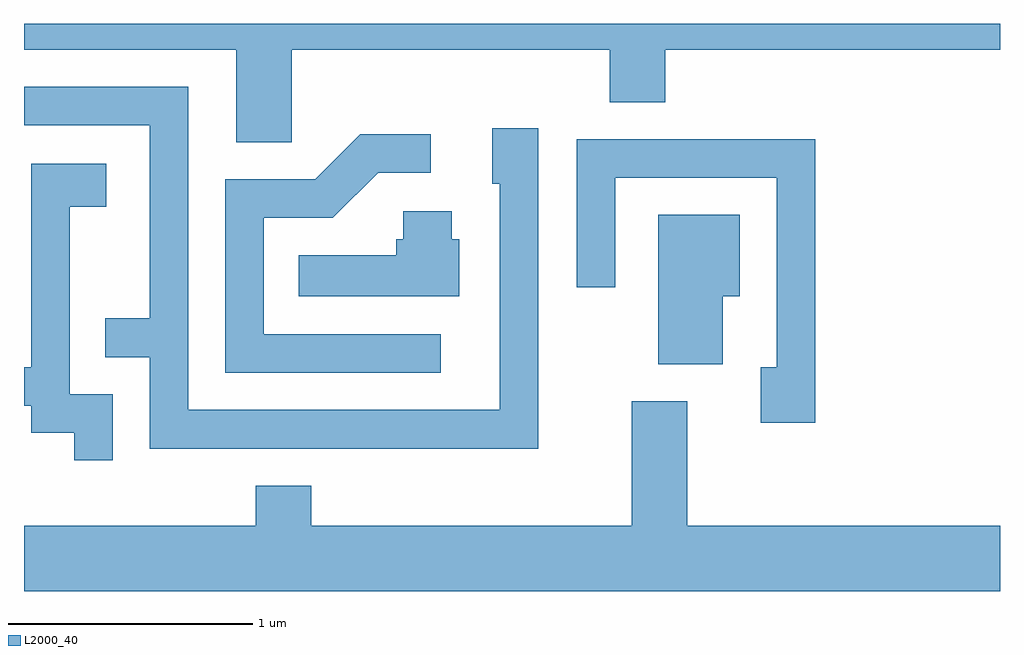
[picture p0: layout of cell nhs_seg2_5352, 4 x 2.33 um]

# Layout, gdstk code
import gdstk
lib = gdstk.Library(unit=1e-6, precision=1e-09)
def P(c, l, *ps):  # polygons
    for p in ps: c.add(gdstk.Polygon(p, *l))
L2000_40 = (2000, 40)

nhs_seg2_5352 = lib.new_cell('nhs_seg2_5352')
P(nhs_seg2_5352, L2000_40, [(343.611,1001.696),(344.481,1001.696),(344.481,1001.316),(344.709,1001.316),(344.709,1001.696),(346.011,1001.696),(346.011,1001.481),(346.239,1001.481),(346.239,1001.696),(347.611,1001.696),(347.611,1001.802),(343.611,1001.802)],
  [(345.719,1001.374),(345.531,1001.374),(345.531,1001.146),(345.561,1001.146),(345.561,1000.219),(344.284,1000.219),(344.284,1001.544),(343.611,1001.544),(343.611,1001.386),(344.126,1001.386),(344.126,1000.594),(343.943,1000.594),(343.943,1000.436),(344.126,1000.436),(344.126,1000.061),(345.719,1000.061)],
  [(345.318,1000.529),(344.594,1000.529),(344.594,1001.006),(344.877,1001.006),(345.062,1001.191),(345.278,1001.191),(345.278,1001.349),(344.989,1001.349),(344.804,1001.164),(344.436,1001.164),(344.436,1000.371),(345.318,1000.371)],
  [(346.854,1001.329),(345.876,1001.329),(345.876,1000.723),(346.034,1000.723),(346.034,1001.171),(346.696,1001.171),(346.696,1000.394),(346.631,1000.394),(346.631,1000.166),(346.854,1000.166)],
  [(343.974,1000.284),(343.799,1000.284),(343.799,1001.051),(343.949,1001.051),(343.949,1001.229),(343.641,1001.229),(343.641,1000.394),(343.611,1000.394),(343.611,1000.236),(343.641,1000.236),(343.641,1000.126),(343.816,1000.126),(343.816,1000.013),(343.974,1000.013)],
  [(345.394,1000.919),(345.364,1000.919),(345.364,1001.034),(345.166,1001.034),(345.166,1000.919),(345.136,1000.919),(345.136,1000.854),(344.738,1000.854),(344.738,1000.686),(345.394,1000.686)],
  [(346.474,1000.686),(346.544,1000.686),(346.544,1001.019),(346.211,1001.019),(346.211,1000.406),(346.474,1000.406)],
  [(347.611,999.744),(346.329,999.744),(346.329,1000.254),(346.101,1000.254),(346.101,999.744),(344.789,999.744),(344.789,999.909),(344.561,999.909),(344.561,999.744),(343.611,999.744),(343.611,999.476),(347.611,999.476)])

lib.write_gds('nhs_seg2_5352.gds')
